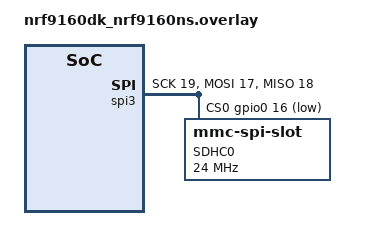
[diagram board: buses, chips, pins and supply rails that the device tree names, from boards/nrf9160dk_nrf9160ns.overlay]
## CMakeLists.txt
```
# SPDX-License-Identifier: Apache-2.0

cmake_minimum_required(VERSION 3.13.1)
find_package(Zephyr REQUIRED HINTS $ENV{ZEPHYR_BASE})
project(test)

FILE(GLOB app_sources src/*.c)
target_sources(app PRIVATE ${app_sources})
```

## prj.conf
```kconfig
# CONFIG_LOG=y
CONFIG_FILE_SYSTEM=y
CONFIG_FAT_FILESYSTEM_ELM=y

# SPI
CONFIG_DISK_ACCESS_SDHC=y
CONFIG_DISK_ACCESS_SPI_SDHC=y
CONFIG_SPI=y
CONFIG_SPI_3=y
CONFIG_NRFX_SPIM=y
CONFIG_MAIN_STACK_SIZE=4096

# BUTTON / LEDS
# CONFIG_UART_INTERRUPT_DRIVEN=y
CONFIG_DK_LIBRARY=y
CONFIG_DK_LIBRARY_INVERT_LEDS=n
```

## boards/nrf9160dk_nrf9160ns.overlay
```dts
&spi3 {
   
    status = "okay";
    sck-pin = <19>;
    mosi-pin = <17>;
    miso-pin = <18>;

    cs-gpios = <&gpio0 16 GPIO_ACTIVE_LOW>;

    sdhc0: sdhc@0 {
            compatible = "zephyr,mmc-spi-slot";
            reg = <0>;
            status = "okay";
            label = "SDHC0";
            spi-max-frequency = <24000000>;
    };
};
```

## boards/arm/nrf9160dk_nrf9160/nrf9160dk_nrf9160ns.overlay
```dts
&spi1 {
    compatible = "nordic,nrf-spim";
    status = "okay";
    sck-pin = <10>;
    mosi-pin = <11>;
    miso-pin = <12>;
};



// Jagurti
&spi3 {
    status = "okay";
    cs-gpios = <&gpio0 16 0>;

    sdhc0: sdhc@0 {
            compatible = "zephyr,mmc-spi-slot";
            reg = <0>;
            status = "okay";
            label = "SDHC0";
            spi-max-frequency = <24000000>;
    };
};

&spi3 {
    status = "okay";
    sck-pin = <19>;
    mosi-pin = <18>;
    miso-pin = <17>;
};



// Taylor
&spi3 {
    status = "okay";
    cs-gpios = <&gpio0 0 0>;
    sck-pin = <3>;
    mosi-pin = <2>;
    miso-pin = <1>;
    sdhc0: sdhc@0 {
            compatible = "zephyr,mmc-spi-slot";
            reg = <0>;
            status = "okay";
            label = "SDHC0";
            spi-max-frequency = <24000000>;
    };
};

// Øyvind
&spi3 {
    compatible = "nordic,nrf-spim";
    status = "okay";
    sck-pin = <10>;
    mosi-pin = <11>;
    miso-pin = <12>;

    cs-gpios = <&gpio0 13 0>;

    sdhc0: sdhc@0 {
            compatible = "zephyr,mmc-spi-slot";
            reg = <0>;
            status = "okay";
            label = "SDHC0";
            spi-max-frequency = <24000000>;
    };
};
```

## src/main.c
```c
/*
 * Copyright (c) 2019 Tavish Naruka <tavishnaruka@gmail.com>
 *
 * SPDX-License-Identifier: Apache-2.0
 */

/* Sample which uses the filesystem API and SDHC driver */

#include <zephyr.h>
#include <device.h>
#include <disk/disk_access.h>
#include <logging/log.h>
#include <fs/fs.h>
#include <ff.h>
#include <string.h>
#include <dk_buttons_and_leds.h>




LOG_MODULE_REGISTER(main);

static int lsdir(const char *path);

static FATFS fat_fs;
/* mounting info */
static struct fs_mount_t mp = {
	.type = FS_FATFS,
	.fs_data = &fat_fs,
};

/*
*  Note the fatfs library is able to mount only strings inside _VOLUME_STRS
*  in ffconf.h
*/
static const char *disk_mount_pt = "/SD:";

static int lsdir(const char *path)
{
	int res;
	struct fs_dir_t dirp;
	static struct fs_dirent entry;

	/* Verify fs_opendir() */
	res = fs_opendir(&dirp, path);
	if (res) {
		printk("Error opening dir %s [%d]\n", path, res);
		return res;
	}

	printk("\nListing dir %s ...\n", path);
	for (;;) {
		/* Verify fs_readdir() */
		res = fs_readdir(&dirp, &entry);

		/* entry.name[0] == 0 means end-of-dir */
		if (res || entry.name[0] == 0) {
			break;
		}

		if (entry.type == FS_DIR_ENTRY_DIR) {
			printk("[DIR ] %s\n", entry.name);
		} else {
			printk("[FILE] %s (size = %zu)\n",
				entry.name, entry.size);
		}
	}

	/* Verify fs_closedir() */
	fs_closedir(&dirp);

	return res;
}

static void create_file_path(char *file_path, char *filename) {
	// Create absolute path for filename
	strcat(file_path, disk_mount_pt);
	strcat(file_path, "/");
	strcat(file_path, filename);
}


static int read_file(char *file_path, char *data, int size) {

	// For catching return values from fs_functions
	int ret = 1;

	// Open file for reading, if file doesnt exist, create one.
	struct fs_file_t file;
	fs_open(&file, file_path, FS_O_READ);

	// Read characters until end of file
	uint8_t buffer[8] = "";
	while (1) {
		ret = fs_read(&file, &buffer, 1);
		if (ret == 0) break;
		strcat(data, buffer);
	} 
	fs_close(&file);


	return 0;
}


static int write_file(char *file_path, char *data, int size) {
	struct fs_file_t file;
	fs_open(&file, file_path, (FS_O_WRITE | FS_O_APPEND));
	fs_write(&file, "\n", strlen("\n"));
	fs_write(&file, data, size);
	fs_close(&file);

	return 0;
}

static int mountSD() {
	
	static const char *disk_pdrv = "SD";
	uint64_t memory_size_mb;
	uint32_t block_count;
	uint32_t block_size;

	do {
		if (disk_access_init(disk_pdrv) != 0) {
		LOG_ERR("Storage init ERROR!");
		break;
		}

		if (disk_access_ioctl(disk_pdrv,
				DISK_IOCTL_GET_SECTOR_COUNT, &block_count)) {
			LOG_ERR("Unable to get sector count");
			break;
		}
		LOG_INF("Block count %u", block_count);

		if (disk_access_ioctl(disk_pdrv,
				DISK_IOCTL_GET_SECTOR_SIZE, &block_size)) {
			LOG_ERR("Unable to get sector size");
			break;
		}
		printk("Sector size %u\n", block_size);

		memory_size_mb = (uint64_t)block_count * block_size;
		printk("Memory Size(MB) %u\n", (uint32_t)(memory_size_mb >> 20));
		

		mp.mnt_point = disk_mount_pt;

		int res = fs_mount(&mp);

		if (res == FR_OK) {
			printk("Disk mounted.\n");
			lsdir(disk_mount_pt);
		} else {
			printk("Error mounting disk.\n");
			return res;
		}
	} while (0);

	return 0;
}


void main(void)
{
	mountSD();
	char dataBuffer[1024] = "";
	char filepath[32] = "";
	create_file_path(filepath, "test.txt");
	read_file(filepath, dataBuffer, sizeof(dataBuffer));
	create_file_path(filepath, "test2.txt");
	write_file(filepath, dataBuffer, strlen(dataBuffer));

	printk("%s", dataBuffer);




}
```
